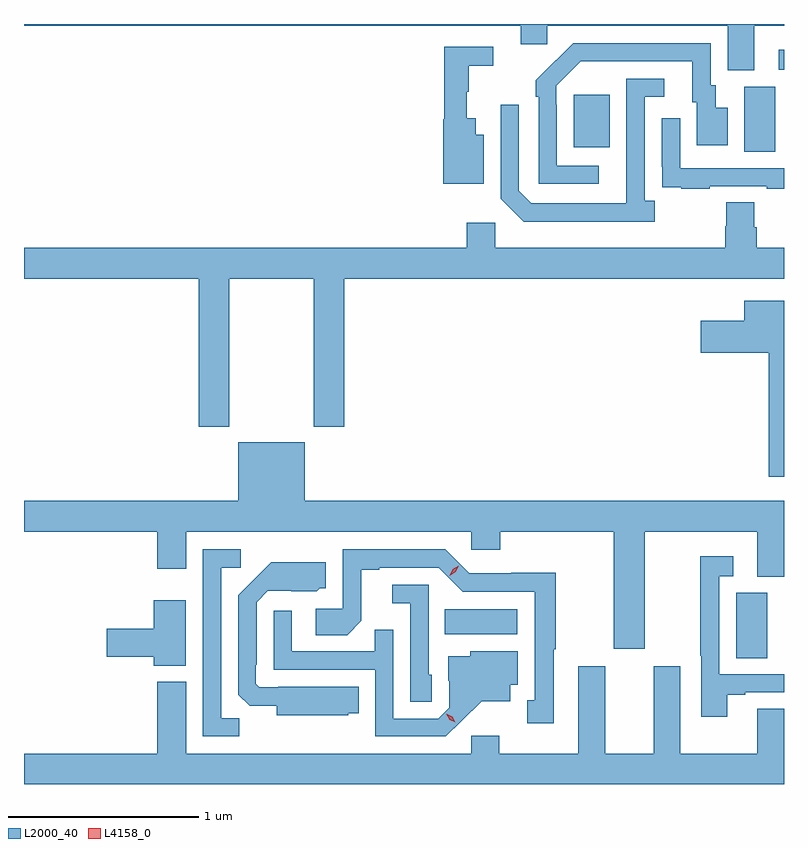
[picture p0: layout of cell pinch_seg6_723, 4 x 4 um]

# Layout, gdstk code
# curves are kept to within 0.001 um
import gdstk
lib = gdstk.Library(unit=1e-6, precision=1e-09)
def R(c, l, rs):  # rectangles x0, y0, x1, y1
    for r in rs: c.add(gdstk.rectangle(r[:2], r[2:], *l))
def P(c, l, *ps):  # polygons
    for p in ps: c.add(gdstk.Polygon(p, *l))
L2000_40 = (2000, 40)
L4158_0 = (4158, 0)

pinch_seg6_723 = lib.new_cell('pinch_seg6_723')
R(pinch_seg6_723, L2000_40, [(615.758,938.68,615.922,939.024), (614.224,938.804,614.605,938.938), (615.8,941.344,615.964,941.688), (614.903,941.369,615.091,941.644), (615.981,941.775,616.009,941.881)])
P(pinch_seg6_723, L2000_40, [(615.853,942.008),(616.009,942.008),(616.009,942.017),(612.009,942.017),(612.009,942.008),(614.624,942.008),(614.624,941.91),(614.763,941.91),(614.763,942.008),(615.713,942.008),(615.713,941.773),(615.853,941.773)],
  [(615.034,941.271),(614.814,941.271),(614.814,941.591),(614.811,941.591),(614.811,941.691),(614.94,941.82),(615.527,941.82),(615.527,941.604),(615.551,941.604),(615.551,941.379),(615.712,941.379),(615.712,941.575),(615.649,941.575),(615.649,941.694),(615.624,941.694),(615.624,941.916),(614.9,941.916),(614.703,941.721),(614.703,941.633),(614.718,941.633),(614.718,941.175),(615.034,941.175)],
  [(614.428,941.434),(614.386,941.434),(614.386,941.521),(614.339,941.521),(614.339,941.661),(614.35,941.661),(614.35,941.797),(614.479,941.797),(614.479,941.898),(614.221,941.898),(614.221,941.517),(614.216,941.517),(614.216,941.177),(614.428,941.177)],
  [(615.328,941.086),(615.276,941.086),(615.276,941.634),(615.379,941.634),(615.379,941.73),(615.18,941.73),(615.179,941.073),(614.679,941.073),(614.613,941.139),(614.613,941.593),(614.517,941.593),(614.517,941.097),(614.638,940.976),(615.328,940.976)],
  [(615.617,941.163),(615.917,941.163),(615.917,941.151),(616.009,941.151),(616.009,941.259),(615.462,941.259),(615.462,941.521),(615.366,941.521),(615.366,941.266),(615.367,941.266),(615.367,941.157),(615.469,941.157),(615.469,941.151),(615.617,941.151)],
  [(613.089,940.676),(613.534,940.676),(613.534,939.897),(613.694,939.897),(613.694,940.676),(616.009,940.676),(616.009,940.84),(615.866,940.84),(615.866,940.946),(615.853,940.946),(615.853,941.078),(615.706,941.078),(615.706,940.953),(615.701,940.953),(615.701,940.84),(614.49,940.84),(614.49,940.972),(614.339,940.972),(614.339,940.84),(612.009,940.84),(612.009,940.676),(612.929,940.676),(612.929,939.897),(613.089,939.897)],
  [(616.009,940.561),(615.8,940.561),(615.8,940.456),(615.57,940.456),(615.57,940.286),(615.93,940.286),(615.93,939.633),(616.009,939.633)],
  [(615.277,939.344),(615.869,939.344),(615.869,939.109),(616.009,939.109),(616.009,939.508),(613.486,939.508),(613.486,939.817),(613.136,939.817),(613.136,939.508),(612.009,939.508),(612.009,939.344),(612.71,939.344),(612.71,939.15),(612.862,939.15),(612.862,939.344),(614.364,939.344),(614.364,939.251),(614.516,939.251),(614.516,939.344),(615.113,939.344),(615.113,938.73),(615.277,938.73)],
  [(613.143,938.363),(613.047,938.363),(613.047,939.156),(613.15,939.156),(613.15,939.252),(612.951,939.252),(612.951,938.268),(613.143,938.268)],
  [(614.797,938.725),(614.807,938.725),(614.807,939.128),(614.574,939.128),(614.574,939.126),(614.352,939.126),(614.226,939.252),(613.686,939.252),(613.686,938.94),(613.545,938.94),(613.545,938.8),(613.709,938.8),(613.785,938.876),(613.785,939.144),(613.879,939.144),(613.879,939.156),(614.193,939.156),(614.319,939.03),(614.696,939.03),(614.696,938.457),(614.657,938.457),(614.657,938.337),(614.797,938.337)],
  [(615.709,938.487),(615.805,938.487),(615.805,938.499),(616.009,938.499),(616.009,938.595),(615.669,938.595),(615.669,939.111),(615.742,939.111),(615.742,939.217),(615.568,939.217),(615.568,938.692),(615.573,938.692),(615.573,938.37),(615.709,938.37)],
  [(613.716,938.39),(613.772,938.39),(613.772,938.53),(613.348,938.53),(613.348,938.526),(613.248,938.526),(613.23,938.544),(613.23,938.644),(613.233,938.644),(613.233,938.973),(613.293,939.033),(613.55,939.032),(613.566,939.048),(613.597,939.048),(613.597,939.184),(613.309,939.184),(613.137,939.01),(613.137,938.488),(613.196,938.429),(613.34,938.429),(613.34,938.378),(613.716,938.378)],
  [(614.154,938.592),(614.139,938.592),(614.139,939.066),(613.947,939.066),(613.947,938.969),(614.043,938.969),(614.043,938.449),(614.154,938.449)],
  [(612.859,938.983),(612.692,938.983),(612.692,938.834),(612.444,938.834),(612.444,938.687),(612.692,938.687),(612.692,938.639),(612.859,938.639)],
  [(614.314,938.351),(614.417,938.453),(614.569,938.453),(614.569,938.54),(614.608,938.54),(614.608,938.716),(614.358,938.716),(614.358,938.689),(614.243,938.689),(614.243,938.56),(614.247,938.56),(614.247,938.418),(614.19,938.361),(613.953,938.361),(613.953,938.828),(613.855,938.828),(613.855,938.715),(613.419,938.715),(613.419,938.929),(613.323,938.929),(613.323,938.619),(613.857,938.619),(613.857,938.268),(614.23,938.268)],
  [(614.511,938.272),(614.364,938.272),(614.364,938.176),(612.862,938.176),(612.862,938.554),(612.71,938.554),(612.71,938.176),(612.009,938.176),(612.009,938.017),(616.009,938.017),(616.009,938.414),(615.869,938.414),(615.869,938.176),(615.463,938.176),(615.463,938.638),(615.323,938.638),(615.323,938.176),(615.067,938.176),(615.067,938.638),(614.927,938.638),(614.927,938.176),(614.511,938.176)])
P(pinch_seg6_723, L4158_0, [(614.249,939.114),(614.249,939.114),(614.266,939.146),(614.298,939.165),(614.298,939.165),(614.298,939.165),(614.281,939.133),(614.249,939.114)],
  [(614.279,938.341),(614.249,938.356),(614.231,938.386),(614.231,938.386),(614.232,938.386),(614.262,938.371),(614.28,938.341),(614.28,938.341)])

lib.write_gds('pinch_seg6_723.gds')
